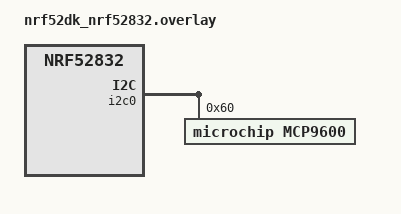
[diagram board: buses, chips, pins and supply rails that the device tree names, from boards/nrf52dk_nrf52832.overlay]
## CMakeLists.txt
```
# SPDX-License-Identifier: Apache-2.0

cmake_minimum_required(VERSION 3.13.1)

find_package(Zephyr HINTS $ENV{ZEPHYR_BASE})
project(ballonsensor)

FILE(GLOB app_sources src/*.c)
target_sources(app PRIVATE
  ${app_sources}
  )
```

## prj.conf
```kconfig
CONFIG_BT=y
CONFIG_BT_DEBUG_LOG=y
CONFIG_BT_SMP=y
CONFIG_BT_PERIPHERAL=y
CONFIG_BT_GATT_DIS=y
CONFIG_BT_GATT_DIS_PNP=n
CONFIG_BT_GATT_BAS=y
CONFIG_BT_DEVICE_NAME="OE-SOX Temperatur"
CONFIG_BT_DEVICE_APPEARANCE=768
CONFIG_BT_ATT_ENFORCE_FLOW=n


CONFIG_STDOUT_CONSOLE=y
CONFIG_I2C=y
CONFIG_I2C_NRFX=y
CONFIG_GPIO=y
CONFIG_SENSOR=y
CONFIG_MCP9600=y

CONFIG_DEBUG_OPTIMIZATIONS=y
CONFIG_EXCEPTION_STACK_TRACE=y
CONFIG_DEBUG_INFO=y
CONFIG_SYSTEM_WORKQUEUE_STACK_SIZE=2048
#CONFIG_MPSL_SIGNAL_STACK_SIZE=2048
CONFIG_MAIN_STACK_SIZE=2048
CONFIG_IDLE_STACK_SIZE=1024
CONFIG_ISR_STACK_SIZE=2048
CONFIG_PRIVILEGED_STACK_SIZE=2048
CONFIG_THREAD_STACK_INFO=y
CONFIG_UART_MUX_RX_STACK_SIZE=512
CONFIG_EXCEPTION_STACK_TRACE=y
```

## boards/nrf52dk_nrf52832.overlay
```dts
/*
 * SPDX-License-Identifier: Apache-2.0
 */

&i2c0 {
	mcp9600@60 {
		compatible = "microchip,mcp9600";
		reg = <0x60>;
		label = "MCP9600";
	};
};
```

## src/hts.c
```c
/** @file
 *  @brief HTS Service sample
 */

/*
 * Copyright (c) 2020 SixOctets Systems
 * Copyright (c) 2019 Aaron Tsui <aaron.tsui@outlook.com>
 *
 * SPDX-License-Identifier: Apache-2.0
 */

#include <stdio.h>
#include <stddef.h>
#include <string.h>
#include <errno.h>

#include <zephyr.h>
#include <drivers/sensor.h>
#include <sys/printk.h>
#include <sys/byteorder.h>

#include <bluetooth/bluetooth.h>
#include <bluetooth/hci.h>
#include <bluetooth/conn.h>
#include <bluetooth/uuid.h>
#include <bluetooth/gatt.h>

static struct device *temp_dev;

static u8_t simulate_htm;
static u8_t indicating;
static struct bt_gatt_indicate_params ind_params;

static void htmc_ccc_cfg_changed(const struct bt_gatt_attr *attr,
				 u16_t value)
{
	simulate_htm = (value == BT_GATT_CCC_INDICATE) ? 1 : 0;
}

static void indicate_cb(struct bt_conn *conn, const struct bt_gatt_attr *attr,
			u8_t err)
{
	printk("Indication %s\n", err != 0U ? "fail" : "success");
	indicating = 0U;
}

/* Heart Rate Service Declaration */
BT_GATT_SERVICE_DEFINE(hts_svc,
	BT_GATT_PRIMARY_SERVICE(BT_UUID_HTS),
	BT_GATT_CHARACTERISTIC(BT_UUID_HTS_MEASUREMENT, BT_GATT_CHRC_INDICATE,
			       BT_GATT_PERM_NONE, NULL, NULL, NULL),
	BT_GATT_CCC(htmc_ccc_cfg_changed,
		    BT_GATT_PERM_READ | BT_GATT_PERM_WRITE),
	/* more optional Characteristics */
);

void hts_init(void)
{
	//temp_dev = device_get_binding("TEMP_0");
	temp_dev = device_get_binding("MCP9600");

	if (!temp_dev) {
		printk("error: no temp device\n");
		return;
	}

	printk("temp device is %p, name is %s\n", temp_dev,
	       temp_dev->name);
}

void hts_indicate(void)
{
	/* Temperature measurements simulation */
	struct sensor_value temp_value;

	if (simulate_htm) {
		static u8_t htm[5];
		static double temperature = 20U;
		u32_t mantissa;
		u8_t exponent;
		int r;

		if (indicating) {
			return;
		}

		if (!temp_dev) {
			temperature++;
			if (temperature == 30U) {
				temperature = 20U;
			}

			goto gatt_indicate;
		}

		r = sensor_sample_fetch(temp_dev);
		if (r) {
			printk("sensor_sample_fetch failed return: %d\n", r);
		}

		r = sensor_channel_get(temp_dev, SENSOR_CHAN_AMBIENT_TEMP,
				       &temp_value);
		if (r) {
			printk("sensor_channel_get failed return: %d\n", r);
		}

		temperature = sensor_value_to_double(&temp_value);

gatt_indicate:
		printf("temperature is %gC\n", temperature);

		mantissa = (u32_t)(temperature * 100);
		exponent = (u8_t)-2;

		htm[0] = 0; /* temperature in celcius */
		sys_put_le24(mantissa, (u8_t *)&htm[1]);
		htm[4] = exponent;

		ind_params.attr = &hts_svc.attrs[2];
		ind_params.func = indicate_cb;
		ind_params.data = &htm;
		ind_params.len = sizeof(htm);

		if (bt_gatt_indicate(NULL, &ind_params) == 0) {
			indicating = 1U;
		}
	}
}
```
